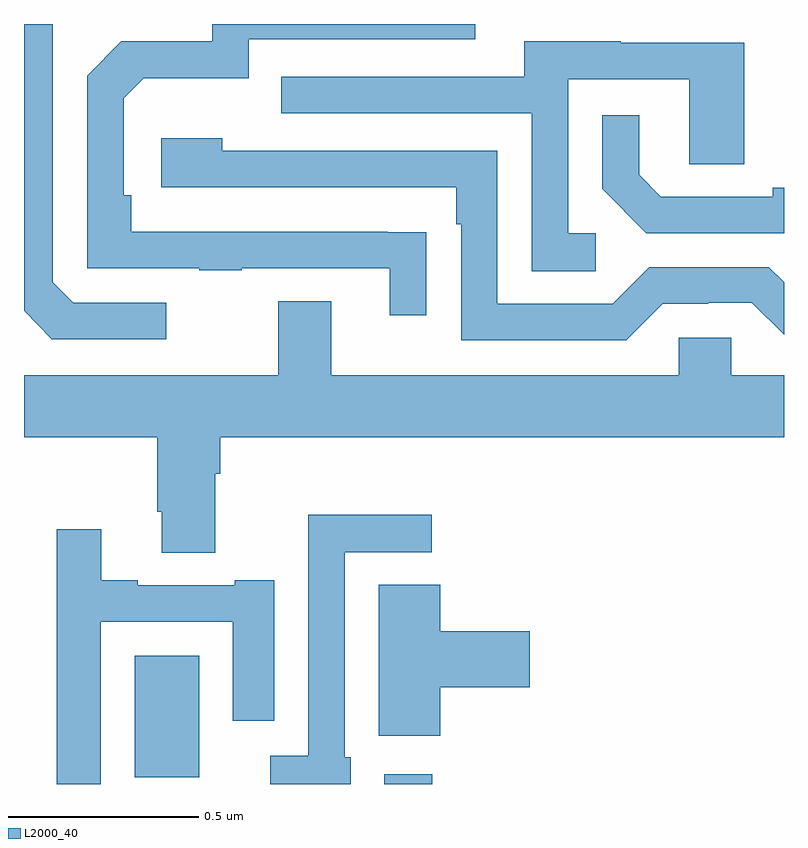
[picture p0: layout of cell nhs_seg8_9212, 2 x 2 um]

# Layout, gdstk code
import gdstk
lib = gdstk.Library(unit=1e-6, precision=1e-09)
def R(c, l, rs):  # rectangles x0, y0, x1, y1
    for r in rs: c.add(gdstk.rectangle(r[:2], r[2:], *l))
def P(c, l, *ps):  # polygons
    for p in ps: c.add(gdstk.Polygon(p, *l))
L2000_40 = (2000, 40)

nhs_seg8_9212 = lib.new_cell('nhs_seg8_9212')
R(nhs_seg8_9212, L2000_40, [(233.948,1136.9,234.074,1136.926), (233.291,1136.918,233.461,1137.238)])
P(nhs_seg8_9212, L2000_40, [(233.374,1138.167),(233.13,1138.167),(233.076,1138.221),(233.076,1138.9),(233,1138.9),(233,1138.145),(233.073,1138.071),(233.374,1138.071)],
  [(234.059,1138.352),(233.957,1138.352),(233.957,1138.353),(233.282,1138.353),(233.282,1138.45),(233.262,1138.45),(233.262,1138.704),(233.315,1138.757),(233.592,1138.757),(233.592,1138.86),(234.187,1138.86),(234.187,1138.9),(233.496,1138.9),(233.496,1138.854),(233.256,1138.854),(233.166,1138.764),(233.166,1138.257),(233.461,1138.257),(233.461,1138.252),(233.573,1138.252),(233.573,1138.257),(233.963,1138.257),(233.963,1138.134),(234.059,1138.134)],
  [(234.505,1138.35),(234.432,1138.35),(234.432,1138.755),(234.75,1138.755),(234.75,1138.531),(234.895,1138.531),(234.895,1138.851),(234.571,1138.851),(234.571,1138.855),(234.317,1138.855),(234.317,1138.761),(233.677,1138.761),(233.677,1138.665),(234.336,1138.665),(234.336,1138.249),(234.505,1138.249)],
  [(235,1138.469),(234.971,1138.469),(234.971,1138.446),(234.676,1138.446),(234.619,1138.503),(234.619,1138.66),(234.522,1138.66),(234.522,1138.466),(234.638,1138.35),(235,1138.35)],
  [(234.681,1138.164),(234.8,1138.164),(234.8,1138.167),(234.915,1138.167),(235,1138.082),(235,1138.22),(234.96,1138.26),(234.645,1138.26),(234.549,1138.164),(234.246,1138.164),(234.246,1138.566),(233.522,1138.566),(233.522,1138.6),(233.361,1138.6),(233.361,1138.47),(234.137,1138.47),(234.137,1138.373),(234.15,1138.373),(234.15,1138.068),(234.585,1138.068)],
  [(233.503,1137.716),(233.516,1137.716),(233.516,1137.812),(235,1137.812),(235,1137.976),(234.861,1137.976),(234.861,1138.074),(234.723,1138.074),(234.723,1137.976),(233.809,1137.976),(233.809,1138.171),(233.669,1138.171),(233.669,1137.976),(233,1137.976),(233,1137.812),(233.351,1137.812),(233.351,1137.616),(233.363,1137.616),(233.363,1137.508),(233.503,1137.508)],
  [(233.86,1136.97),(233.844,1136.97),(233.844,1137.51),(234.073,1137.51),(234.073,1137.608),(233.748,1137.608),(233.748,1136.974),(233.648,1136.974),(233.648,1136.9),(233.86,1136.9)],
  [(233.202,1137.327),(233.549,1137.327),(233.549,1137.066),(233.659,1137.066),(233.659,1137.436),(233.555,1137.436),(233.555,1137.423),(233.299,1137.423),(233.299,1137.436),(233.203,1137.436),(233.203,1137.571),(233.086,1137.571),(233.086,1136.9),(233.202,1136.9)],
  [(234.095,1137.155),(234.331,1137.155),(234.331,1137.302),(234.095,1137.302),(234.095,1137.425),(233.933,1137.425),(233.933,1137.027),(234.095,1137.027)])

lib.write_gds('nhs_seg8_9212.gds')
